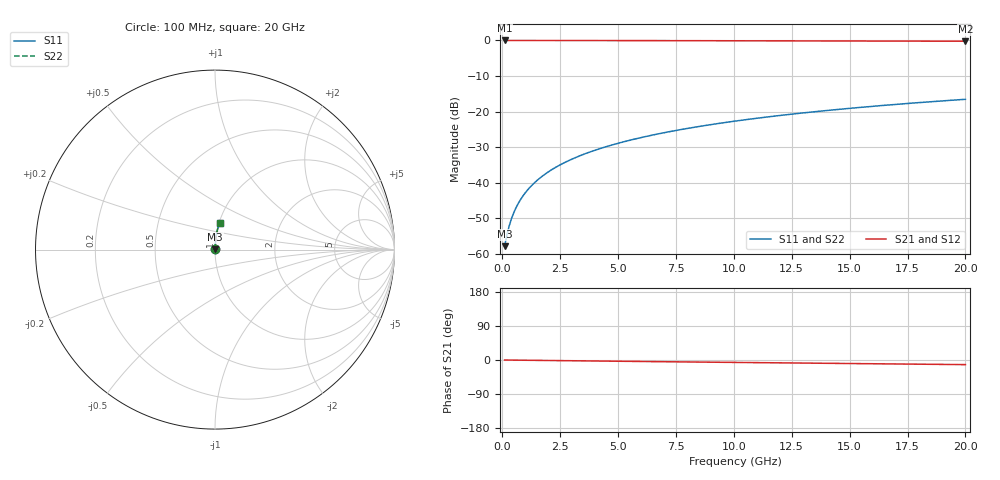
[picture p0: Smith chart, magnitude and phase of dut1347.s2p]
! Touchstone file exported from HFSS 2024.1.0
!  File:  C:/UserFiles/LocalFiles/RDL_TSV_Batchsim/temp_RDL_bottom_1347_1780370094.aedt
!  Generated:  11:17:16 AM Jun  2, 2026
!  Design:  RDL_bottom
!  Project:  temp_RDL_bottom_1347_1780370094
!  Setup:  Setup1
!  Solution:  Sweep
! Variables:
!  dtsv = 10.80580581um
!  hbump = 3um
!  htsv = 67.04um
!  ldown = 142.02um
!  lrdl = 100um
!  p = 40
!  p1 = 41.32um
!  rhole = 1um
!  t = 450um
!  tdown = 3.83um
!  trdl = 3.915915916um
!  wdown = 15.18um
!  wrdl = 20um
# GHz S MA R 50.000000
! Terminal data exported
! Port[1] = RDL1_T1
! Port[2] = RDL1_T2
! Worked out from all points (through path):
!   200 points, 100 MHz to 20 GHz, reference 50 ohm
!   highest |S21| = -0.01 dB at 100 MHz (marker M1); lowest = -0.2 dB at 20 GHz (marker M2)
!   group delay of S21, straight-line fit = 1.68 ps
!   lowest |S11| = -57.9 dB at 100 MHz (marker M3), VSWR 1.00, Z = 50.1 + j0.0752 ohm
!   |S11| at or under -10 dB: start of sweep to end of sweep
!   |S22| runs from -57.9 to -16.6 dB; largest |S21 - S12| = 3.5e-15
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0.1  0.001277 36.0  0.999 -0.1  0.999 -0.1  0.001277 36.0
! Gamma 0 0 0 0
! Port Impedance 50 0 50 0
0.2  0.001828 54.6  0.9989 -0.1  0.9989 -0.1  0.001828 54.6
0.3  0.002467 63.8  0.9989 -0.2  0.9989 -0.2  0.002467 63.8
0.4  0.003132 69.1  0.9989 -0.3  0.9989 -0.3  0.003132 69.1
0.5  0.003806 72.5  0.9988 -0.3  0.9988 -0.3  0.003806 72.5
0.6  0.004486 75.0  0.9988 -0.4  0.9988 -0.4  0.004486 75.0
0.8  0.005857 78.2  0.9987 -0.5  0.9987 -0.5  0.005857 78.2
1.1  0.007934 81.1  0.9986 -0.7  0.9986 -0.7  0.007934 81.1
1.5  0.01073 83.2  0.9985 -1.0  0.9985 -1.0  0.01073 83.2
1.8  0.01284 84.2  0.9983 -1.2  0.9983 -1.2  0.01284 84.2
2.1  0.01496 84.9  0.9981 -1.4  0.9981 -1.4  0.01496 84.9
2.7  0.01921 85.8  0.9978 -1.8  0.9978 -1.8  0.01921 85.8
3.5  0.02492 86.5  0.9971 -2.3  0.9971 -2.3  0.02492 86.5
4.2  0.02996 86.7  0.9964 -2.8  0.9964 -2.8  0.02996 86.7
5  0.03575 86.9  0.9956 -3.3  0.9956 -3.3  0.03575 86.9
5.9  0.04233 86.9  0.9945 -3.9  0.9945 -3.9  0.04233 86.9
6.8  0.04896 86.7  0.9934 -4.4  0.9934 -4.4  0.04896 86.7
8.3  0.06012 86.3  0.9914 -5.4  0.9914 -5.4  0.06013 86.3
10.1  0.07367 85.6  0.9889 -6.4  0.9889 -6.4  0.07367 85.6
13.4  0.0987 84.0  0.9843 -8.4  0.9843 -8.4  0.0987 84.0
16.7  0.1237 82.1  0.9795 -10.3  0.9795 -10.3  0.1237 82.1
20  0.1485 80.1  0.9745 -12.2  0.9745 -12.2  0.1485 80.1
